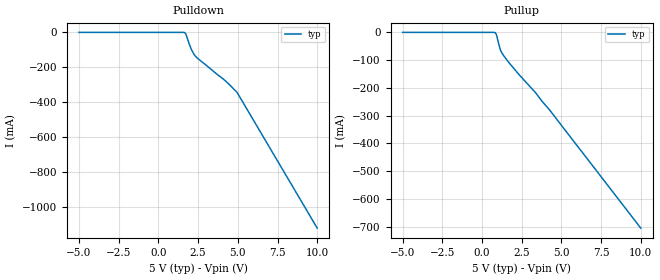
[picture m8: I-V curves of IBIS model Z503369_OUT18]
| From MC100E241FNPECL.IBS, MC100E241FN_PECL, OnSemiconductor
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| (C) COPYRIGHT 1993-2000
| MENTOR GRAPHICS CORPORATION
| ICX STANDARD LIBRARY, ICX PROJECT MODELING,
| ICX CUSTOM MODELING, ICX VENDOR MODEL
| ALL RIGHTS RESERVED.
| THE FOLLOWING ARE TRADEMARKS OR SERVICE MARKS OF
| MENTOR GRAPHICS CORPORATION:ICX (R), ICX STANDARD
| LIBRARY(R), ICX PROJECT MODELING(R), ICX CUSTOM
| MODELING(R), qualityIBIS(TM), MODELVIEWER(TM),
| AND MODELEDITOR(TM)
| ALL COPIES OF SOFTWARE, INCLUDING BUT NOT LIMITED TO
| ANY MODIFICATIONS, ENHANCEMENTS OR DERIVATIVE WORKS,
| MUST CONTAIN ALL MENTOR GRAPHICS CORPORATION'S
| NOTICES AND LEGENDS, INCLUDING THOSE EMBEDDED IN
| SOFTWARE AND THOSE AFFIXED TO SOFTWARE MEDIUM
| AND CONTAINER, AS RECEIVED FROM MENTOR GRAPHICS
| CORPORATION.
| Model Application Version 1.89 2/18/99.
[Model] Z503369_OUT18
Model_type Output_ECL
Vref=3.000V
Rref=50.00ohms
Cref=0.000F
Vmeas=3.677V
C_comp 8.000pF NA NA
| variable typ   min   max
[Voltage Range] 5.000V NA NA
[POWER Clamp Reference] 5.000V NA NA
[Pullup Reference] 5.000V NA NA
[Pulldown Reference] 5.000V NA NA
[GND Clamp Reference] 0.000V NA NA
[GND Clamp]
-5V       0A         NA         NA
10V       0A         NA         NA
[Pulldown]
-5V       0A         NA         NA
1.676V    -3.1mA     NA         NA
1.758V    -16mA      NA         NA
1.96V     -71.1mA    NA         NA
2.082V    -98.3mA    NA         NA
2.345V    -137.6mA   NA         NA
4.251V    -279.5mA   NA         NA
4.96V     -343.9mA   NA         NA
10V       -1.118A    NA         NA
[Pullup]
-5V       0A         NA         NA
846mV     -2mA       NA         NA
927mV     -11.9mA    NA         NA
1.068V    -45mA      NA         NA
1.17V     -64.4mA    NA         NA
1.373V    -84.6mA    NA         NA
2.346V    -152.9mA   NA         NA
3.379V    -217.5mA   NA         NA
3.805V    -249.8mA   NA         NA
4.251V    -279.1mA   NA         NA
10V       -705.4mA   NA         NA
[POWER Clamp]
-5V       0A         NA         NA
10V       0A         NA         NA
[Ramp]
| variable typ min max
dV/dt_r 248.1m/852.8p NA NA
dV/dt_f 248.1m/326.2p NA NA
R_load = 50.00Ohms
